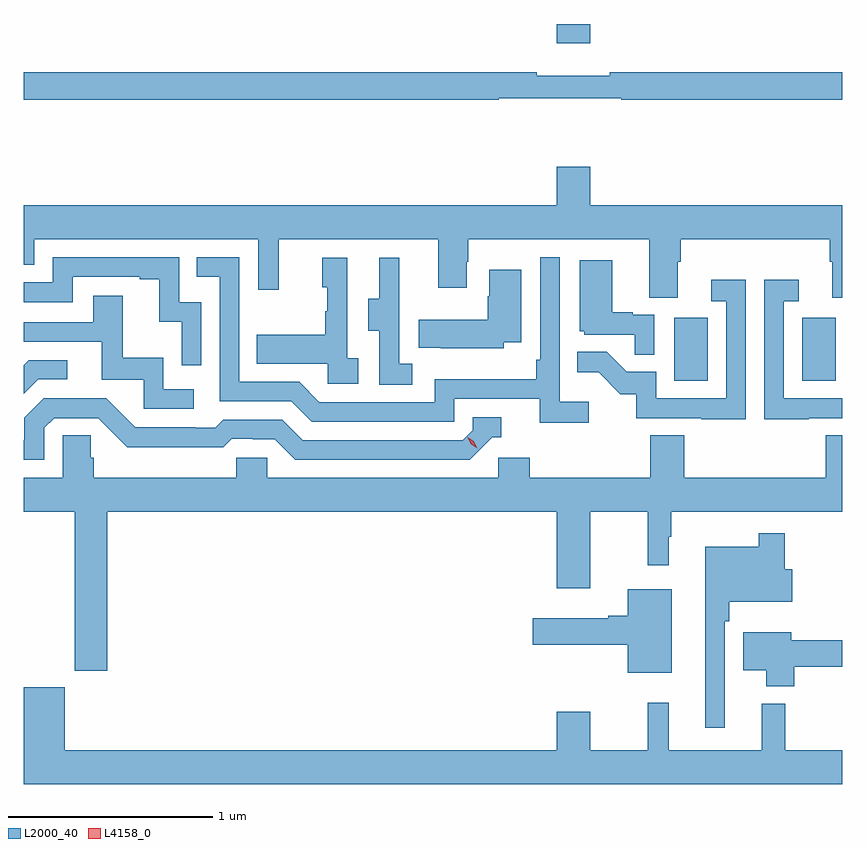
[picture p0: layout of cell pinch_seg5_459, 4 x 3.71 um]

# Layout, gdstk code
import gdstk
lib = gdstk.Library(unit=1e-6, precision=1e-09)
def R(c, l, rs):  # rectangles x0, y0, x1, y1
    for r in rs: c.add(gdstk.rectangle(r[:2], r[2:], *l))
def P(c, l, *ps):  # polygons
    for p in ps: c.add(gdstk.Polygon(p, *l))
L2000_40 = (2000, 40)
L4158_0 = (4158, 0)

pinch_seg5_459 = lib.new_cell('pinch_seg5_459')
R(pinch_seg5_459, L2000_40, [(944.804,861.396,944.968,861.703), (945.428,861.396,945.592,861.703), (944.228,863.046,944.392,863.139)])
P(pinch_seg5_459, L2000_40, [(943.945,862.776),(944.545,862.776),(944.545,862.768),(945.624,862.768),(945.624,862.904),(944.488,862.904),(944.488,862.885),(944.132,862.885),(944.132,862.904),(941.624,862.904),(941.624,862.768),(943.945,862.768)],
  [(944.821,861.976),(944.834,861.976),(944.834,862.088),(945.563,862.088),(945.563,861.976),(945.575,861.976),(945.575,861.802),(945.624,861.802),(945.624,862.252),(944.392,862.252),(944.392,862.441),(944.228,862.441),(944.228,862.252),(941.624,862.252),(941.624,861.961),(941.676,861.961),(941.676,862.088),(942.771,862.088),(942.771,861.84),(942.869,861.84),(942.869,862.088),(943.649,862.088),(943.649,861.849),(943.789,861.849),(943.789,861.977),(943.797,861.977),(943.797,862.088),(944.681,862.088),(944.681,861.802),(944.821,861.802)],
  [(944.386,861.292),(944.244,861.292),(944.244,862),(944.148,862),(944.148,861.499),(944.128,861.499),(944.128,861.403),(943.632,861.403),(943.632,861.291),(943.068,861.291),(942.969,861.39),(942.678,861.39),(942.678,861.999),(942.469,861.999),(942.469,861.903),(942.582,861.903),(942.582,861.294),(942.932,861.294),(943.031,861.195),(943.728,861.195),(943.728,861.306),(944.147,861.306),(944.147,861.19),(944.386,861.19)],
  [(942.492,861.78),(942.384,861.78),(942.384,861.999),(941.766,861.999),(941.766,861.876),(941.624,861.876),(941.624,861.78),(941.862,861.78),(941.862,861.903),(942.191,861.903),(942.191,861.891),(942.287,861.891),(942.287,861.683),(942.396,861.683),(942.396,861.471),(942.492,861.471)],
  [(943.522,861.479),(943.458,861.479),(943.458,861.783),(943.46,861.783),(943.46,861.997),(943.361,861.997),(943.361,861.795),(943.307,861.795),(943.307,861.64),(943.362,861.64),(943.362,861.376),(943.522,861.376)],
  [(943.258,861.506),(943.206,861.506),(943.206,861.997),(943.082,861.997),(943.082,861.852),(943.108,861.852),(943.108,861.734),(943.098,861.734),(943.098,861.619),(942.763,861.619),(942.763,861.479),(943.11,861.479),(943.11,861.381),(943.258,861.381)],
  [(944.706,861.717),(944.6,861.717),(944.6,861.73),(944.5,861.73),(944.5,861.985),(944.342,861.985),(944.342,861.636),(944.364,861.636),(944.364,861.621),(944.611,861.621),(944.611,861.523),(944.706,861.523)],
  [(943.969,861.584),(944.056,861.584),(944.056,861.937),(943.898,861.937),(943.898,861.807),(943.891,861.807),(943.891,861.694),(943.555,861.694),(943.555,861.557),(943.663,861.557),(943.663,861.554),(943.969,861.554)],
  [(945.153,861.889),(944.985,861.889),(944.985,861.783),(945.057,861.783),(945.057,861.309),(944.715,861.309),(944.715,861.438),(944.571,861.438),(944.473,861.536),(944.329,861.536),(944.329,861.437),(944.433,861.437),(944.54,861.33),(944.617,861.33),(944.617,861.213),(944.935,861.213),(944.935,861.208),(945.153,861.208)],
  [(945.461,861.213),(945.624,861.213),(945.624,861.309),(945.339,861.309),(945.339,861.783),(945.412,861.783),(945.412,861.889),(945.243,861.889),(945.243,861.208),(945.461,861.208)],
  [(942.454,861.354),(942.306,861.354),(942.306,861.508),(942.107,861.508),(942.107,861.811),(941.963,861.811),(941.963,861.681),(941.624,861.681),(941.624,861.585),(942.005,861.585),(942.005,861.399),(942.21,861.399),(942.21,861.258),(942.454,861.258)],
  [(941.694,861.402),(941.836,861.402),(941.836,861.495),(941.648,861.495),(941.624,861.471),(941.624,861.332)],
  [(941.724,861.165),(941.772,861.213),(941.988,861.213),(942.13,861.071),(942.366,861.071),(942.366,861.069),(942.599,861.069),(942.641,861.111),(942.744,861.111),(942.744,861.108),(942.851,861.108),(942.95,861.009),(943.803,861.009),(943.914,861.12),(943.957,861.12),(943.957,861.216),(943.818,861.216),(943.818,861.153),(943.77,861.105),(942.987,861.105),(942.888,861.204),(942.599,861.204),(942.56,861.165),(942.461,861.165),(942.461,861.168),(942.168,861.168),(942.027,861.309),(941.721,861.309),(941.627,861.215),(941.627,861.105),(941.624,861.105),(941.624,861.009),(941.724,861.009)],
  [(942.032,860.756),(944.228,860.756),(944.228,860.382),(944.392,860.382),(944.392,860.756),(944.674,860.756),(944.674,860.493),(944.776,860.493),(944.776,860.633),(944.788,860.633),(944.788,860.756),(945.624,860.756),(945.624,861.128),(945.545,861.128),(945.545,860.92),(944.852,860.92),(944.852,861.128),(944.687,861.128),(944.687,860.92),(944.096,860.92),(944.096,861.018),(943.944,861.018),(943.944,860.92),(942.813,860.92),(942.813,861.018),(942.663,861.018),(942.663,860.92),(941.966,860.92),(941.966,861.018),(941.951,861.018),(941.951,861.128),(941.814,861.128),(941.814,860.92),(941.624,860.92),(941.624,860.756),(941.872,860.756),(941.872,859.977),(942.032,859.977)],
  [(945.051,860.219),(945.071,860.219),(945.071,860.315),(945.379,860.315),(945.379,860.473),(945.344,860.473),(945.344,860.65),(945.216,860.65),(945.216,860.584),(944.954,860.584),(944.954,859.698),(945.051,859.698)],
  [(944.791,860.377),(944.576,860.377),(944.576,860.246),(944.48,860.246),(944.48,860.233),(944.112,860.233),(944.112,860.104),(944.576,860.104),(944.576,859.967),(944.791,859.967)],
  [(945.389,859.998),(945.624,859.998),(945.624,860.126),(945.376,860.126),(945.376,860.167),(945.14,860.167),(945.14,859.979),(945.254,859.979),(945.254,859.901),(945.389,859.901)],
  [(945.624,859.588),(945.347,859.588),(945.347,859.816),(945.23,859.816),(945.23,859.588),(944.777,859.588),(944.777,859.822),(944.674,859.822),(944.674,859.588),(944.392,859.588),(944.392,859.777),(944.228,859.777),(944.228,859.588),(941.824,859.588),(941.824,859.897),(941.624,859.897),(941.624,859.424),(945.624,859.424)])
P(pinch_seg5_459, L4158_0, [(943.84,861.066),(943.809,861.086),(943.793,861.118),(943.793,861.119),(943.794,861.119),(943.824,861.099),(943.84,861.066),(943.84,861.066)])

lib.write_gds('pinch_seg5_459.gds')
